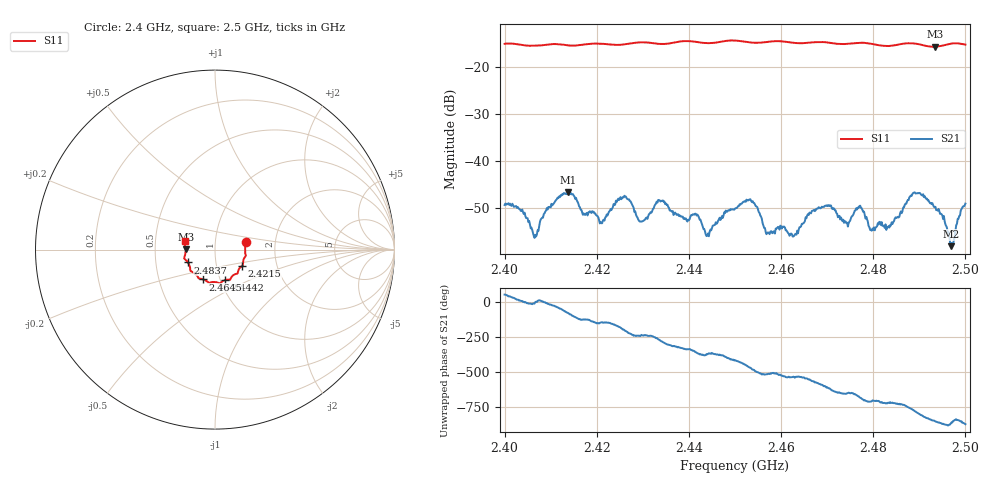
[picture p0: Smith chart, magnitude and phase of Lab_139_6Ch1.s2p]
# Hz S RI R 50
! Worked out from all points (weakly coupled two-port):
!   601 points, 2.4 GHz to 2.5 GHz, reference 50 ohm
!   highest |S21| = -46.50 dB at 2.4138 GHz (marker M1); lowest = -58.0 dB at 2.4968 GHz (marker M2)
!   lowest |S11| = -15.7 dB at 2.4933 GHz (marker M3), VSWR 1.39, Z = 35.9 + j0.0949 ohm
!   |S11| at or under -10 dB: start of sweep to end of sweep
!   S12 and S22 are empty: the file has one direction only
!   S11 on the Smith chart (normalised r, x): 2.4 GHz: 1.41, +0.12; 2.4215 GHz: 1.33, -0.25; 2.4442 GHz: 1.05, -0.37; 2.4645 GHz: 0.83, -0.29; 2.4837 GHz: 0.73, -0.11; 2.5 GHz: 0.71, +0.07
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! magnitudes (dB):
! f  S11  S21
! 2.4 GHz  -15.1  -49.3
! 2.4067 GHz  -15.5  -55.6
! 2.4138 GHz  -15.4  -46.5
! 2.4167 GHz  -15.3  -50.3
! 2.4215 GHz  -15.1  -52.4
! 2.4257 GHz  -15.3  -47.6
! 2.4297 GHz  -14.8  -52.8
! 2.4333 GHz  -15.1  -48.2
! 2.4442 GHz  -15.0  -55.3
! 2.45 GHz  -14.4  -50.0
! 2.4537 GHz  -14.8  -48.7
! 2.4572 GHz  -14.7  -55.1
! 2.4645 GHz  -15.0  -53.3
! 2.4667 GHz  -14.8  -50.5
! 2.4742 GHz  -15.1  -53.1
! 2.4772 GHz  -14.9  -49.4
! 2.4833 GHz  -15.6  -53.7
! 2.4837 GHz  -15.5  -53.5
! 2.489 GHz  -15.0  -46.6
! 2.4933 GHz  -15.7  -49.8
! 2.4968 GHz  -15.1  -58.0
! 2.5 GHz  -15.3  -49.0
